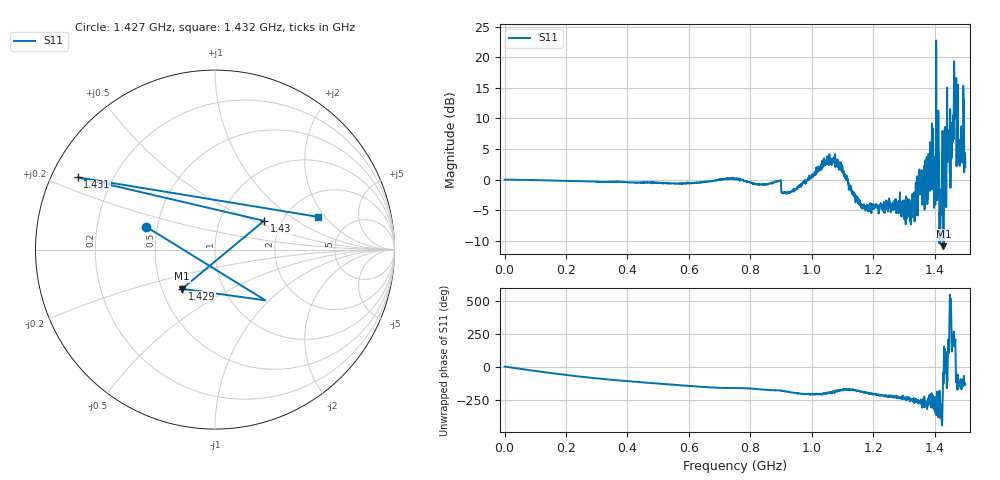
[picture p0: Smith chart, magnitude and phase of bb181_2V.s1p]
# Hz S RI R 50
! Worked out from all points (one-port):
!   1515 points, 50 kHz to 1.5 GHz, reference 50 ohm
!   lowest |S11| = -10.9 dB at 1.429 GHz (marker M1), VSWR 1.80, Z = 31.7 - j15.1 ohm
!   |S11| at or under -10 dB: 1.415723 GHz to 1.415876 GHz (152.7 kHz wide, 0.0108 % of centre); 1.417692 GHz to 1.417841 GHz (148.4 kHz wide, 0.0105 % of centre); 1.428363 GHz to 1.429647 GHz (1.285 MHz wide, 0.0899 % of centre)
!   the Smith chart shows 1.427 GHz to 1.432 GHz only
!   S11 on the Smith chart (normalised r, x): 1.427 GHz: 0.43, +0.13; 1.429 GHz: 0.63, -0.30; 1.43 GHz: 1.62, +0.58; 1.431 GHz: 0.08, +0.25; 1.432 GHz: 2.98, +1.71
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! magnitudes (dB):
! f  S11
! 50 kHz  0.0
! 188.3 MHz  -0.2
! 375.5 MHz  -0.3
! 562.8 MHz  -0.7
! 750 MHz  0.2
! 938.3 MHz  -1.9
! 1.057 GHz  4.2
! 1.094 GHz  1.6
! 1.126 GHz  -1.0
! 1.169 GHz  -4.7
! 1.313 GHz  -6.0
! 1.355 GHz  0.1
! 1.372 GHz  1.0
! 1.407 GHz  9.5
! 1.423 GHz  -5.2
! 1.427 GHz  -7.9
! 1.429 GHz  -10.9
! 1.43 GHz  -10.0
! 1.431 GHz  -1.3
! 1.432 GHz  -4.4
! 1.44 GHz  3.6
! 1.452 GHz  6.5
! 1.459 GHz  6.1
! 1.468 GHz  10.3
! 1.478 GHz  5.5
! 1.485 GHz  6.8
! 1.489 GHz  7.3
! 1.5 GHz  2.0
